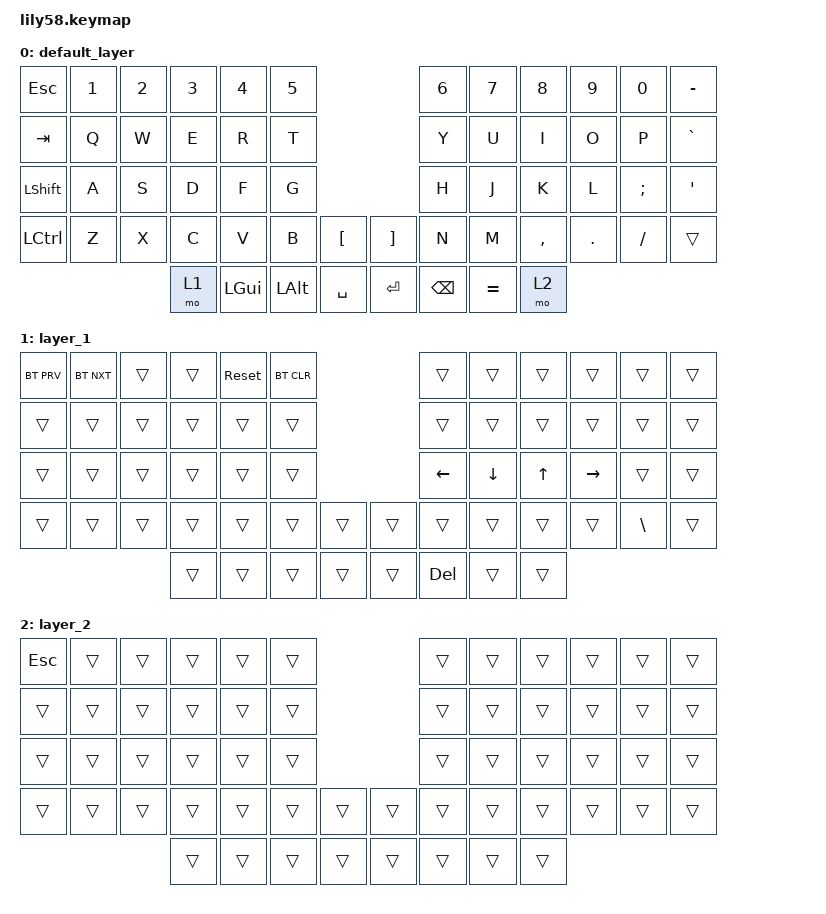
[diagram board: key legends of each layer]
/*
 * Copyright (c) 2020 The ZMK Contributors
 *
 * SPDX-License-Identifier: MIT
 */

#include <behaviors.dtsi>
#include <dt-bindings/zmk/bt.h>
#include <dt-bindings/zmk/keys.h>

/ {
    keymap {
        compatible = "zmk,keymap";

        default_layer {
            // ------------------------------------------------------------------------------------------------------------
            // |  ESC  |  1  |  2  |  3   |  4   |  5   |                   |  6   |  7    |  8    |  9   |   0   |   `   |
            // |  TAB  |  Q  |  W  |  E   |  R   |  T   |                   |  Y   |  U    |  I    |  O   |   P   |   -   |
            // |  CTRL |  A  |  S  |  D   |  F   |  G   |                   |  H   |  J    |  K    |  L   |   ;   |   '   |
            // | SHIFT |  Z  |  X  |  C   |  V   |  B   |   "["  |  |  "]"  |  N   |  M    |  ,    |  .   |   /   | SHIFT |
            //                     | ALT  | GUI  | LOWER|  SPACE |  | ENTER | RAISE| BSPC  | GUI   |

            bindings = <
&kp ESC         &kp N1  &kp N2  &kp N3  &kp N4    &kp N5                               &kp N6         &kp N7     &kp N8     &kp N9   &kp N0    &kp MINUS
&kp TAB         &kp Q   &kp W   &kp E   &kp R     &kp T                                &kp Y          &kp U      &kp I      &kp O    &kp P     &kp GRAVE
&kp LEFT_SHIFT  &kp A   &kp S   &kp D   &kp F     &kp G                                &kp H          &kp J      &kp K      &kp L    &kp SEMI  &kp SQT
&kp LCTRL       &kp Z   &kp X   &kp C   &kp V     &kp B         &kp LBKT     &kp RBKT  &kp N          &kp M      &kp COMMA  &kp DOT  &kp FSLH  &trans
                                &mo 1   &kp LGUI  &kp LEFT_ALT  &kp SPACE    &kp RET   &kp BACKSPACE  &kp EQUAL  &mo 2
            >;
        };

        layer_1 {
            bindings = <
&bt BT_PRV  &bt BT_NXT  &trans  &trans  &sys_reset  &bt BT_CLR                &trans    &trans    &trans  &trans     &trans         &trans
&trans      &trans      &trans  &trans  &trans      &trans                    &trans    &trans    &trans  &trans     &trans         &trans
&trans      &trans      &trans  &trans  &trans      &trans                    &kp LEFT  &kp DOWN  &kp UP  &kp RIGHT  &trans         &trans
&trans      &trans      &trans  &trans  &trans      &trans  &trans    &trans  &trans    &trans    &trans  &trans     &kp BACKSLASH  &trans
                                &trans  &trans      &trans  &trans    &trans  &kp DEL   &trans    &trans
            >;
        };

        layer_2 {
            bindings = <
&kp ESC  &trans  &trans  &trans  &trans  &trans                    &trans  &trans  &trans  &trans  &trans  &trans
&trans   &trans  &trans  &trans  &trans  &trans                    &trans  &trans  &trans  &trans  &trans  &trans
&trans   &trans  &trans  &trans  &trans  &trans                    &trans  &trans  &trans  &trans  &trans  &trans
&trans   &trans  &trans  &trans  &trans  &trans  &trans    &trans  &trans  &trans  &trans  &trans  &trans  &trans
                         &trans  &trans  &trans  &trans    &trans  &trans  &trans  &trans
            >;
        };
    };
};
